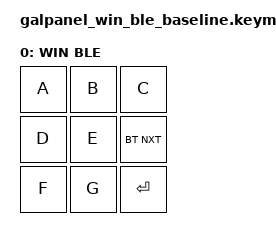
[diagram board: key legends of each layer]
/*
 * Static-name Windows BLE pairing baseline.
 * D8 uses the stock ZMK next-Profile behavior. The other keys only make a
 * successful BLE HID connection observable; they are not product mappings.
 */

#include <behaviors.dtsi>
#include <dt-bindings/zmk/bt.h>
#include <dt-bindings/zmk/keys.h>

/ {
    keymap {
        compatible = "zmk,keymap";

        win_ble_baseline_layer {
            display-name = "WIN BLE";
            bindings = <
                &kp A &kp B &kp C
                &kp D &kp E &bt BT_NXT
                &kp F &kp G &kp ENTER
            >;
        };
    };
};
